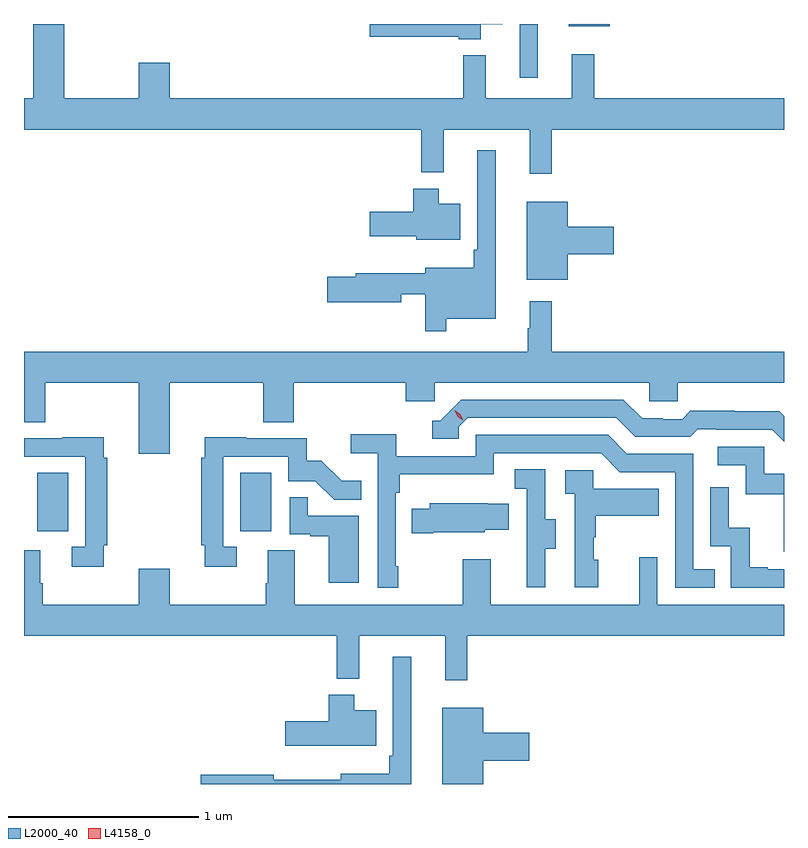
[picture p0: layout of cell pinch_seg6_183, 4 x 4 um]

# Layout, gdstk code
import gdstk
lib = gdstk.Library(unit=1e-6, precision=1e-09)
def R(c, l, rs):  # rectangles x0, y0, x1, y1
    for r in rs: c.add(gdstk.rectangle(r[:2], r[2:], *l))
def P(c, l, *ps):  # polygons
    for p in ps: c.add(gdstk.Polygon(p, *l))
L2000_40 = (2000, 40)
L4158_0 = (4158, 0)

pinch_seg6_183 = lib.new_cell('pinch_seg6_183')
R(pinch_seg6_183, L2000_40, [(1015.622,926.574,1015.786,926.881), (1016.69,926.574,1016.854,926.881), (1018.161,928.962,1018.258,929.244), (1018.421,929.231,1018.636,929.244)])
P(pinch_seg6_183, L2000_40, [(1018.331,928.688),(1019.553,928.688),(1019.553,928.852),(1018.553,928.852),(1018.553,929.086),(1018.436,929.086),(1018.436,928.852),(1017.983,928.852),(1017.983,929.08),(1017.865,929.08),(1017.865,928.852),(1016.32,928.852),(1016.32,929.041),(1016.156,929.041),(1016.156,928.852),(1015.765,928.852),(1015.765,929.244),(1015.601,929.244),(1015.601,928.852),(1015.553,928.852),(1015.553,928.688),(1017.643,928.688),(1017.643,928.463),(1017.761,928.463),(1017.761,928.688),(1018.214,928.688),(1018.214,928.455),(1018.331,928.455)],
  [(1017.958,929.243),(1018.072,929.243),(1018.072,929.244),(1017.372,929.244),(1017.372,929.176),(1017.84,929.176),(1017.84,929.165),(1017.958,929.165)],
  [(1017.775,927.692),(1018.036,927.692),(1018.036,928.579),(1017.939,928.579),(1017.939,928.057),(1017.919,928.057),(1017.919,927.961),(1017.665,927.961),(1017.665,927.932),(1017.299,927.932),(1017.299,927.914),(1017.15,927.914),(1017.15,927.779),(1017.538,927.779),(1017.538,927.822),(1017.666,927.822),(1017.666,927.627),(1017.775,927.627)],
  [(1017.85,928.297),(1017.736,928.297),(1017.736,928.378),(1017.602,928.378),(1017.602,928.257),(1017.372,928.257),(1017.372,928.127),(1017.618,928.127),(1017.618,928.109),(1017.85,928.109)],
  [(1018.414,928.031),(1018.657,928.031),(1018.657,928.178),(1018.414,928.178),(1018.414,928.309),(1018.199,928.309),(1018.199,927.899),(1018.414,927.899)],
  [(1016.32,927.356),(1016.812,927.356),(1016.812,927.148),(1016.972,927.148),(1016.972,927.356),(1017.563,927.356),(1017.563,927.258),(1017.714,927.258),(1017.714,927.356),(1018.845,927.356),(1018.845,927.258),(1018.995,927.258),(1018.995,927.356),(1019.553,927.356),(1019.553,927.52),(1018.331,927.52),(1018.331,927.784),(1018.214,927.784),(1018.214,927.644),(1018.203,927.644),(1018.203,927.52),(1015.553,927.52),(1015.553,927.148),(1015.665,927.148),(1015.665,927.356),(1016.156,927.356),(1016.156,926.982),(1016.32,926.982)],
  [(1019.553,927.18),(1019.528,927.205),(1019.292,927.205),(1019.292,927.208),(1019.059,927.208),(1019.017,927.165),(1018.914,927.165),(1018.914,927.168),(1018.807,927.168),(1018.708,927.267),(1017.855,927.267),(1017.744,927.156),(1017.701,927.156),(1017.701,927.06),(1017.84,927.06),(1017.84,927.123),(1017.888,927.171),(1018.671,927.171),(1018.77,927.072),(1019.059,927.072),(1019.098,927.111),(1019.197,927.111),(1019.197,927.108),(1019.49,927.108),(1019.553,927.045)],
  [(1017.523,926.389),(1017.51,926.389),(1017.51,926.777),(1017.53,926.777),(1017.53,926.873),(1018.026,926.873),(1018.026,926.985),(1018.59,926.985),(1018.689,926.886),(1018.98,926.886),(1018.98,926.277),(1019.189,926.277),(1019.189,926.373),(1019.076,926.373),(1019.076,926.982),(1018.726,926.982),(1018.627,927.081),(1017.93,927.081),(1017.93,926.97),(1017.512,926.97),(1017.512,927.086),(1017.273,927.086),(1017.273,926.984),(1017.414,926.984),(1017.414,926.277),(1017.523,926.277)],
  [(1016.674,926.493),(1016.601,926.493),(1016.601,926.967),(1016.943,926.967),(1016.943,926.838),(1017.087,926.838),(1017.185,926.74),(1017.329,926.74),(1017.329,926.839),(1017.225,926.839),(1017.118,926.946),(1017.042,926.946),(1017.042,927.063),(1016.723,927.063),(1016.723,927.068),(1016.504,927.068),(1016.504,926.96),(1016.485,926.96),(1016.485,926.5),(1016.504,926.5),(1016.504,926.388),(1016.674,926.388)],
  [(1015.973,926.5),(1015.991,926.5),(1015.991,926.96),(1015.973,926.96),(1015.973,927.068),(1015.753,927.068),(1015.753,927.063),(1015.553,927.063),(1015.553,926.967),(1015.875,926.967),(1015.875,926.493),(1015.803,926.493),(1015.803,926.388),(1015.973,926.388)],
  [(1019.553,926.877),(1019.448,926.877),(1019.448,927.018),(1019.205,927.018),(1019.205,926.922),(1019.352,926.922),(1019.352,926.769),(1019.551,926.769),(1019.551,926.466),(1019.553,926.466)],
  [(1018.297,926.482),(1018.351,926.482),(1018.351,926.637),(1018.296,926.637),(1018.296,926.9),(1018.137,926.9),(1018.137,926.797),(1018.2,926.797),(1018.2,926.493),(1018.199,926.493),(1018.199,926.28),(1018.297,926.28)],
  [(1018.576,926.424),(1018.551,926.424),(1018.551,926.543),(1018.561,926.543),(1018.561,926.657),(1018.895,926.657),(1018.895,926.797),(1018.548,926.797),(1018.548,926.895),(1018.401,926.895),(1018.401,926.771),(1018.452,926.771),(1018.452,926.28),(1018.576,926.28)],
  [(1019.553,926.373),(1019.467,926.373),(1019.467,926.386),(1019.372,926.386),(1019.372,926.594),(1019.262,926.594),(1019.262,926.806),(1019.166,926.806),(1019.166,926.496),(1019.274,926.496),(1019.274,926.277),(1019.553,926.277)],
  [(1017.316,926.655),(1017.047,926.655),(1017.047,926.753),(1016.952,926.753),(1016.952,926.559),(1017.059,926.559),(1017.059,926.547),(1017.158,926.547),(1017.158,926.304),(1017.316,926.304)],
  [(1017.706,926.57),(1017.978,926.57),(1017.978,926.582),(1018.103,926.582),(1018.103,926.719),(1017.995,926.719),(1017.995,926.722),(1017.689,926.722),(1017.689,926.692),(1017.595,926.692),(1017.595,926.563),(1017.706,926.563)],
  [(1017.887,926.024),(1019.553,926.024),(1019.553,926.188),(1018.887,926.188),(1018.887,926.437),(1018.79,926.437),(1018.79,926.188),(1018.009,926.188),(1018.009,926.428),(1017.862,926.428),(1017.862,926.188),(1016.977,926.188),(1016.977,926.474),(1016.837,926.474),(1016.837,926.3),(1016.825,926.3),(1016.825,926.188),(1016.32,926.188),(1016.32,926.377),(1016.156,926.377),(1016.156,926.188),(1015.652,926.188),(1015.652,926.3),(1015.639,926.3),(1015.639,926.474),(1015.553,926.474),(1015.553,926.024),(1017.199,926.024),(1017.199,925.799),(1017.317,925.799),(1017.317,926.024),(1017.77,926.024),(1017.77,925.791),(1017.887,925.791)],
  [(1017.592,925.915),(1017.495,925.915),(1017.495,925.393),(1017.475,925.393),(1017.475,925.297),(1017.221,925.297),(1017.221,925.267),(1016.868,925.267),(1016.868,925.292),(1016.484,925.292),(1016.484,925.244),(1017.592,925.244)],
  [(1017.406,925.633),(1017.292,925.633),(1017.292,925.714),(1017.158,925.714),(1017.158,925.575),(1016.928,925.575),(1016.928,925.445),(1017.406,925.445)],
  [(1017.97,925.367),(1018.213,925.367),(1018.213,925.514),(1017.97,925.514),(1017.97,925.645),(1017.755,925.645),(1017.755,925.244),(1017.97,925.244)])
P(pinch_seg6_183, L4158_0, [(1017.866,927.158),(1017.835,927.178),(1017.819,927.211),(1017.819,927.211),(1017.819,927.211),(1017.85,927.191),(1017.866,927.158),(1017.866,927.158)])

lib.write_gds('pinch_seg6_183.gds')
